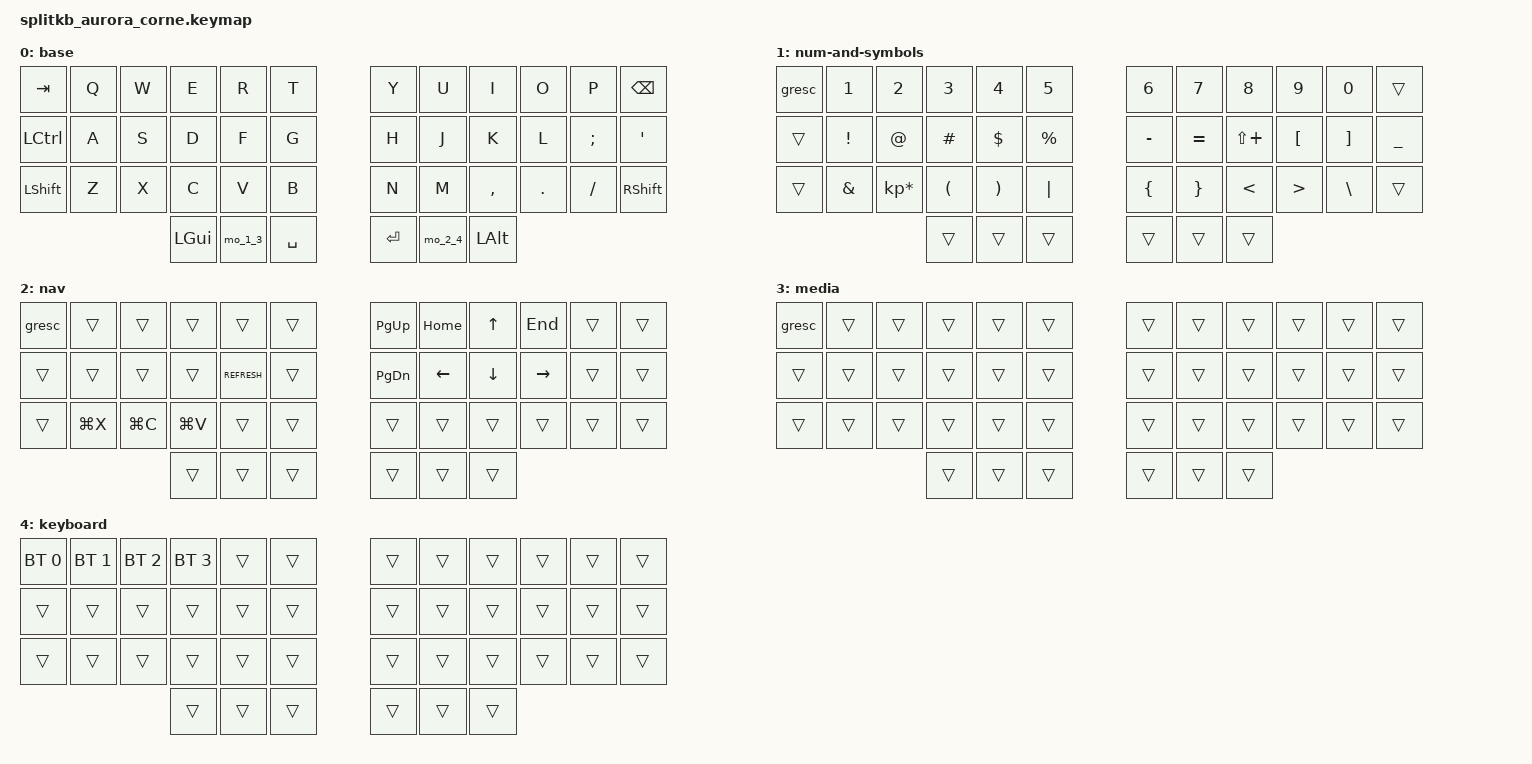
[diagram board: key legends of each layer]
/*
 * Copyright (c) 2020 The ZMK Contributors
 *
 * SPDX-License-Identifier: MIT
 */

#include <behaviors.dtsi>
#include <dt-bindings/zmk/keys.h>
#include <dt-bindings/zmk/bt.h>


/ {
    behaviors {

        gresc: grave_escape {
            compatible = "zmk,behavior-mod-morph";
            #binding-cells = <0>;
            bindings = <&kp ESC>, <&kp GRAVE>;
            mods = <(MOD_LGUI|MOD_LSFT|MOD_RGUI|MOD_RSFT)>;
        };


        mo_1_3: mo_1_3 {
            compatible = "zmk,behavior-tap-dance";
            label = "MO_1_3";
            #binding-cells = <0>;
            bindings = <&mo 1>, <&mo 3>;
        };

        mo_2_4: mo_2_4 {
            compatible = "zmk,behavior-tap-dance";
            label = "MO_2_4";
            #binding-cells = <0>;
            bindings = <&mo 2>, <&mo 4>;
        };

    
    };
\

    keymap {
        compatible = "zmk,keymap";

        base {
            bindings = <
&kp TAB        &kp Q  &kp W  &kp E     &kp R    &kp T           &kp Y      &kp U    &kp I         &kp O    &kp P     &kp BACKSPACE
&kp LEFT_CONTROL  &kp A  &kp S  &kp D     &kp F    &kp G                  &kp H      &kp J    &kp K         &kp L    &kp SEMI  &kp SINGLE_QUOTE
&kp LSHFT         &kp Z  &kp X  &kp C     &kp V    &kp B                  &kp N      &kp M    &kp COMMA     &kp DOT  &kp FSLH  &kp RSHFT
                                &kp LGUI  &mo_1_3  &kp SPACE     &kp ENTER  &mo_2_4  &kp LEFT_ALT
            >;
        };

        num-and-symbols {
            bindings = <
&gresc  &kp N1         &kp N2           &kp N3    &kp N4      &kp N5         &kp N6     &kp N7     &kp N8         &kp N9            &kp N0         &trans
&trans  &kp EXCL       &kp AT_SIGN      &kp HASH  &kp DOLLAR  &kp PERCENT    &kp MINUS  &kp EQUAL  &kp LS(PLUS)   &kp LBKT          &kp RBKT       &kp UNDER
&trans  &kp AMPERSAND  &kp KP_MULTIPLY  &kp LPAR  &kp RPAR    &kp PIPE       &kp LBRC   &kp RBRC   &kp LESS_THAN  &kp GREATER_THAN  &kp BACKSLASH  &trans
                                        &trans    &trans      &trans         &trans     &trans     &trans
            >;
        };

        nav {
            bindings = <
&gresc  &trans     &trans  &trans  &trans         &trans    &kp PAGE_UP      &kp HOME        &kp UP       &kp END      &trans  &trans
&trans  &trans     &trans  &trans  &kp K_REFRESH  &trans    &kp PAGE_DOWN  &kp LEFT    &kp DOWN     &kp RIGHT   &trans  &trans
&trans  &kp LG(X)  &kp LG(C)  &kp LG(V)  &trans         &trans    &trans                                 &trans                             &trans                       &trans                         &trans  &trans
                           &trans  &trans         &trans    &trans                                 &trans                             &trans
            >;
        };

        media {
            bindings = <
&gresc  &trans  &trans  &trans  &trans  &trans    &trans  &trans  &trans  &trans  &trans  &trans
&trans  &trans  &trans  &trans  &trans  &trans    &trans  &trans  &trans  &trans  &trans  &trans
&trans  &trans  &trans  &trans  &trans  &trans    &trans  &trans  &trans  &trans  &trans  &trans
                        &trans  &trans  &trans    &trans  &trans  &trans
            >;
        };

        keyboard {
            bindings = <
&bt BT_SEL 0 &bt BT_SEL 1  &bt BT_SEL 2 &bt BT_SEL 3  &trans  &trans    &trans  &trans  &trans  &trans  &trans  &trans
&trans  &trans        &trans  &trans  &trans  &trans    &trans  &trans  &trans  &trans  &trans  &trans
&trans  &trans        &trans  &trans  &trans  &trans    &trans  &trans  &trans  &trans  &trans  &trans
                              &trans  &trans  &trans    &trans  &trans  &trans
            >;
        };
    };
};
